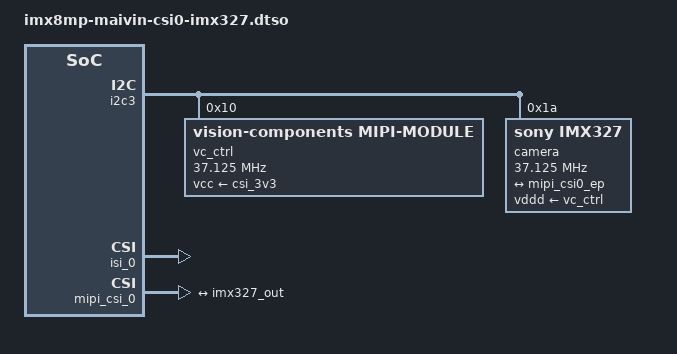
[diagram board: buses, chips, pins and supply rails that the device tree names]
// SPDX-License-Identifier: (GPL-2.0+ OR MIT)
/*
 * Copyright 2021 Ideas on Board Oy
 */

/dts-v1/;
/plugin/;

&i2c3 {
	vc_ctrl: controller@10 {
		compatible = "vision-components,mipi-module";
		reg = <0x10>;
		#clock-cells = <0>;
		vcc-supply = <&csi_3v3>;
		clock-frequency = <37125000>;
	};

	camera@1a {
		compatible = "sony,imx327", "sony,imx290";
		reg = <0x1a>;

		clocks = <&vc_ctrl>;
		clock-names = "xclk";
		clock-frequency = <37125000>;

		vddd-supply = <&vc_ctrl>;

		orientation = <0>;	/* Front */
		rotation = <0>;

		port {
			imx327_out: endpoint {
				data-lanes = <1 2 3 4>;
				link-frequencies = /bits/ 64 <148500000 222750000>;
				remote-endpoint = <&mipi_csi0_ep>;
			};
		};
	};
};

&isi_0 {
	status = "okay";
};

&mipi_csi_0 {
	status = "okay";

	ports {
		port@0 {
			mipi_csi0_ep: endpoint {
				remote-endpoint = <&imx327_out>;
				data-lanes = <1 2 3 4>;
			};
		};
	};
};
